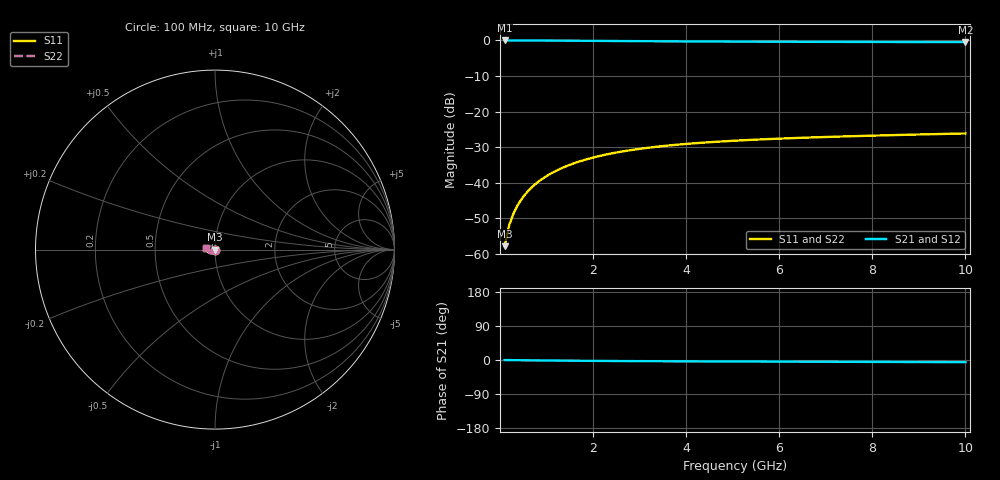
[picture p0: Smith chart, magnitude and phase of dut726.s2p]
! Touchstone file exported from HFSS 2024.1.0
!  File:  C:/UserFiles/LocalFiles/RDL_TSV_Batchsim/temp_TSV1_726_1779868741.aedt
!  Generated:  04:05:05 PM May 27, 2026
!  Design:  TSV1
!  Project:  temp_TSV1_726_1779868741
!  Setup:  Setup1
!  Solution:  Sweep
! Variables:
!  dtsv = 9.65um
!  hbump = 3um
!  htsv = 90.1um
!  lrdl = 252.1521522um
!  p = 40
!  p1 = 52.23um
!  t = 500um
!  trdl = 3um
!  wrdl = 24.89489489um
# GHz S MA R 50.000000
! Terminal data exported
! Port[1] = TSV22_T1
! Port[2] = TSV22_T2
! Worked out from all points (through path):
!   100 points, 100 MHz to 10 GHz, reference 50 ohm
!   highest |S21| = 0.00 dB at 100 MHz (marker M1); lowest = -0.5 dB at 10 GHz (marker M2)
!   lowest |S11| = -57.8 dB at 100 MHz (marker M3), VSWR 1.00, Z = 50 - j0.128 ohm
!   |S11| at or under -10 dB: start of sweep to end of sweep
!   |S22| runs from -57.8 to -26.1 dB; largest |S21 - S12| = 6.2e-15
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0.1  0.001287 -84.4  0.9998 -0.1  0.9998 -0.1  0.001287 -84.4
! Gamma 0 0 0 0
! Port Impedance 50 0 50 0
0.2  0.002559 -89.8  0.9996 -0.3  0.9996 -0.3  0.002559 -89.8
0.3  0.003833 -92.9  0.9994 -0.4  0.9994 -0.4  0.003833 -92.9
0.4  0.005103 -95.4  0.9991 -0.5  0.9991 -0.5  0.005103 -95.4
0.5  0.006364 -97.6  0.9987 -0.7  0.9987 -0.7  0.006364 -97.6
0.6  0.007612 -99.7  0.9983 -0.8  0.9983 -0.8  0.007612 -99.7
0.7  0.008844 -101.8  0.9977 -0.9  0.9977 -0.9  0.008844 -101.8
0.8  0.01006 -103.7  0.9972 -1.1  0.9972 -1.1  0.01006 -103.7
0.9  0.01125 -105.7  0.9965 -1.2  0.9965 -1.2  0.01125 -105.7
1.1  0.01356 -109.4  0.995 -1.4  0.995 -1.4  0.01356 -109.4
1.4  0.01684 -114.7  0.9925 -1.7  0.9925 -1.7  0.01684 -114.7
1.6  0.01888 -118.1  0.9907 -1.9  0.9907 -1.9  0.01888 -118.1
1.8  0.0208 -121.3  0.9888 -2.1  0.9888 -2.1  0.0208 -121.3
2.1  0.02347 -125.9  0.9859 -2.4  0.9859 -2.4  0.02347 -125.9
2.5  0.02662 -131.6  0.982 -2.7  0.982 -2.7  0.02662 -131.6
2.9  0.02936 -136.9  0.9782 -2.9  0.9782 -2.9  0.02936 -136.9
3.4  0.03227 -142.8  0.9739 -3.2  0.9739 -3.2  0.03227 -142.8
4.2  0.036 -151.1  0.968 -3.6  0.968 -3.6  0.036 -151.1
5.1  0.0392 -159.0  0.9628 -4.0  0.9628 -4.0  0.0392 -159.0
6.7  0.04337 -170.5  0.9561 -4.6  0.9561 -4.6  0.04337 -170.5
8.4  0.0467 179.7  0.9514 -5.2  0.9514 -5.2  0.0467 179.7
10  0.04936 172.0  0.9484 -5.8  0.9484 -5.8  0.04935 172.0
